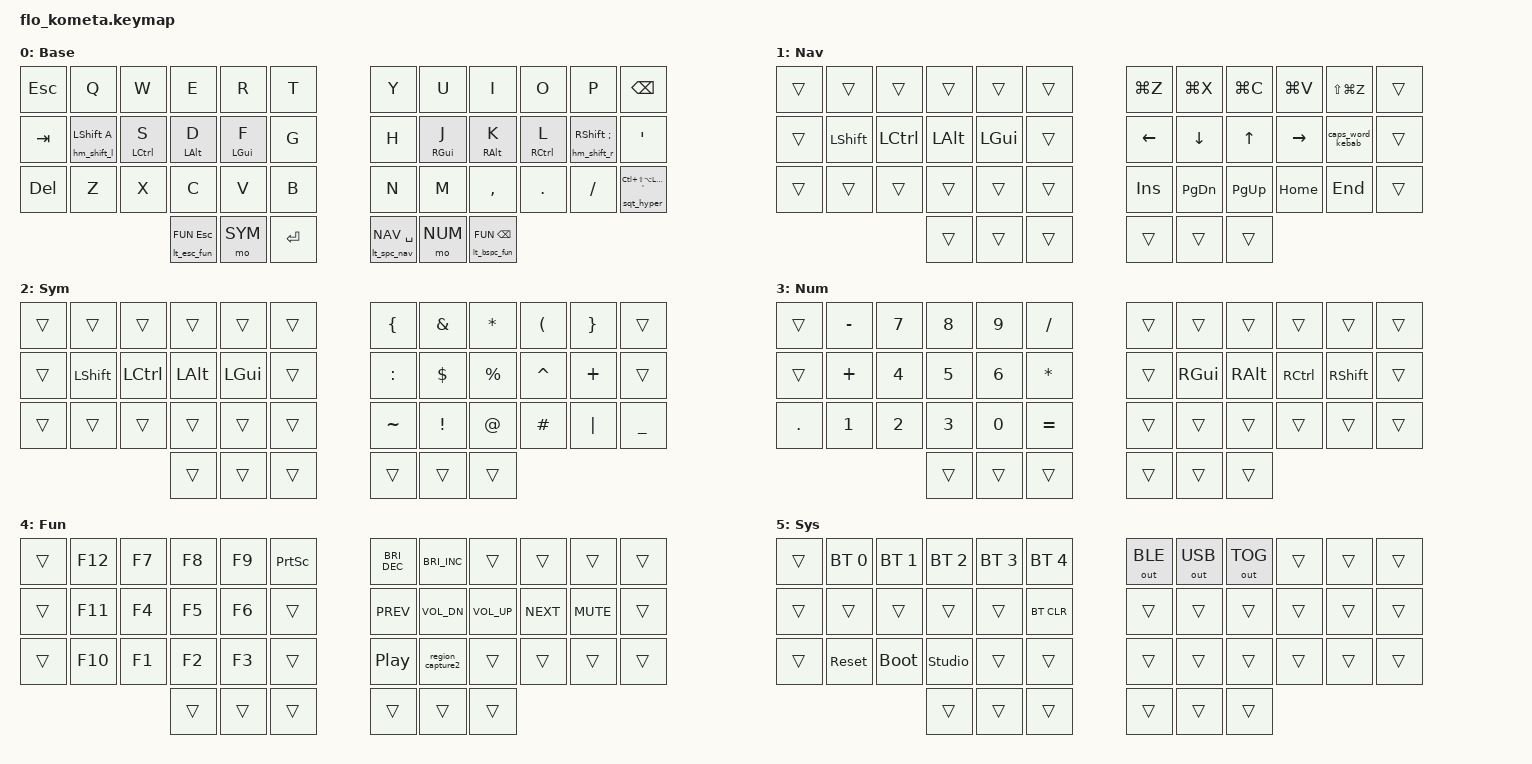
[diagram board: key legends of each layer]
/*
 * Variant A — "flo-core" (kometa, 42-key grid)
 *
 * Identical scheme to flo_totem.keymap; the kometa's extra outer column
 * keeps ESC / TAB / BSPC / SQT / DEL as bonus corner keys (they fall through
 * to base on every layer), mirroring the corne backup's muscle memory.
 * The totem-parity extras live at the same inner positions as the totem's
 * wings: TAB on the totem wing == TAB corner here, SQT/Hyper wing == RB5.
 */

#include <behaviors.dtsi>
#include <dt-bindings/zmk/keys.h>
#include <dt-bindings/zmk/bt.h>
#include <dt-bindings/zmk/outputs.h>

#include "zmk-helpers/helper.h"
#include "zmk-helpers/key-labels/42.h"

#define KEYS_L LT0 LT1 LT2 LT3 LT4 LT5 LM0 LM1 LM2 LM3 LM4 LM5 LB0 LB1 LB2 LB3 LB4 LB5
#define KEYS_R RT0 RT1 RT2 RT3 RT4 RT5 RM0 RM1 RM2 RM3 RM4 RM5 RB0 RB1 RB2 RB3 RB4 RB5
#define KEYS_T LH2 LH1 LH0 RH0 RH1 RH2

#include "../includes/behaviours_homerow_mods.dtsi"
#include "../includes/behaviours_variants.dtsi"

#define BASE 0
#define NAV  1
#define SYM  2
#define NUM  3
#define FUN  4
#define SYS  5

#include "../includes/combos_variants.dtsi"

/ {
    conditional_layers {
        compatible = "zmk,conditional-layers";
        tri_layer {
            if-layers = <NUM SYM>;
            then-layer = <SYS>;
        };
    };

    keymap {
        compatible = "zmk,keymap";

        // ┌────┬────┬────┬────┬────┬────┐        ┌────┬────┬────┬────┬────┬────┐
        // │ESC │ Q  │ W  │ E  │ R  │ T  │        │ Y  │ U  │ I  │ O  │ P  │BSPC│
        // ├────┼────┼────┼────┼────┼────┤        ├────┼────┼────┼────┼────┼────┤
        // │TAB │ A* │ S* │ D* │ F* │ G  │        │ H  │ J* │ K* │ L* │ ;* │ '  │
        // ├────┼────┼────┼────┼────┼────┤        ├────┼────┼────┼────┼────┼────┤
        // │DEL │ Z  │ X  │ C  │ V  │ B  │        │ N  │ M  │ ,  │ .  │ /  │'⌘  │
        // └────┴────┴────┴────┼────┼────┼────┐┌───┼────┼────┼────┼────┼────┴────┘
        //                    │ESC │SYM │ RET ││SPC │NUM │BSPC│
        //                    └────┴────┴─────┘└────┴────┴────┘
        // * hold for mods (Shift/Ctrl/Alt/Gui — mirrored both sides)

        base_layer {
            display-name = "Base";
            label = "BASE";

            bindings = <
                &kp ESC   &kp Q                &kp W &kp E &kp R &kp T              &kp Y &kp U      &kp I      &kp O     &kp P        &kp BSPC
                &kp TAB   &hm_shift_l LSHFT A &hm_l LCTRL S &hm_l LALT D &hm_l LGUI F &kp G    &kp H &hm_r RGUI J &hm_r RALT K &hm_r RCTRL L &hm_shift_r RSHFT SEMICOLON &kp SQT
                &kp DEL   &kp Z &kp X &kp C &kp V &kp B                         &kp N &kp M  &kp COMMA &kp DOT &kp SLASH &sqt_hyper LC(LS(LA(LGUI))) SQT
                                &lt_esc_fun FUN ESC  &mo SYM   &kp RET     &lt_spc_nav NAV SPACE   &mo NUM   &lt_bspc_fun FUN BSPC
            >;
        };

        nav_layer {
            display-name = "Nav";
            label = "NAV";

            // left home row = real mods; right = nav + clipboard
            bindings = <
                &trans  &trans  &trans  &trans  &trans  &trans                    &kp LG(Z)   &kp LG(X)   &kp LG(C)   &kp LG(V)          &kp LS(LG(Z))   &trans
                &trans  &kp LSHFT  &kp LCTRL  &kp LALT  &kp LGUI  &trans          &kp LEFT    &kp DOWN    &kp UP      &kp RIGHT           &caps_word_kebab &trans
                &trans  &trans  &trans  &trans  &trans  &trans                    &kp INS     &kp PG_DN   &kp PG_UP   &kp HOME            &kp END         &trans
                                &trans  &trans  &trans                          &trans      &trans      &trans
            >;
        };

        sym_layer {
            display-name = "Sym";
            label = "SYM";

            // symbols on the right (flo arrangement), real mods left home row
            bindings = <
                &trans  &trans  &trans  &trans  &trans  &trans                    &kp LBRC    &kp AMPS    &kp ASTRK   &kp LPAR    &kp RBRC    &trans
                &trans  &kp LSHFT  &kp LCTRL  &kp LALT  &kp LGUI  &trans          &kp COLON   &kp DLLR    &kp PRCNT   &kp CARET   &kp PLUS    &trans
                &trans  &trans  &trans  &trans  &trans  &trans                    &kp TILDE   &kp EXCL    &kp AT      &kp HASH    &kp PIPE    &kp UNDER
                                &trans  &trans  &trans                          &trans      &trans      &trans
            >;
        };

        num_layer {
            display-name = "Num";
            label = "NUM";

            // calculator-style numpad left, real mods right home row
            bindings = <
                &trans  &kp MINUS   &kp N7   &kp N8   &kp N9   &kp SLASH           &trans    &trans      &trans      &trans      &trans      &trans
                &trans  &kp PLUS    &kp N4   &kp N5   &kp N6   &kp ASTRK           &trans    &kp RGUI    &kp RALT    &kp RCTRL   &kp RSHFT   &trans
                &kp DOT     &kp N1   &kp N2   &kp N3   &kp N0   &kp EQUAL   &trans    &trans      &trans      &trans      &trans      &trans
                                &trans  &trans  &trans                          &trans    &trans      &trans
            >;
        };

        fun_layer {
            display-name = "Fun";
            label = "FUN";

            // F-keys left (numpad-mirrored), media right
            bindings = <
                &trans  &kp F12   &kp F7   &kp F8   &kp F9   &kp PSCRN            &kp C_BRI_DEC   &kp C_BRI_INC  &trans   &trans    &trans    &trans
                &trans  &kp F11   &kp F4   &kp F5   &kp F6   &trans               &kp C_PREV      &kp C_VOL_DN   &kp C_VOL_UP  &kp C_NEXT   &kp C_MUTE   &trans
                &trans  &kp F10  &kp F1   &kp F2   &kp F3   &trans              &kp C_PP        &region_capture2  &trans   &trans    &trans    &trans
                                &trans  &trans  &trans                          &trans    &trans      &trans
            >;
        };

        sys_layer {
            display-name = "Sys";
            label = "SYS";

            // hold NUM + SYM together: BT / outputs / reset / studio
            bindings = <
                &trans  &bt BT_SEL 0  &bt BT_SEL 1  &bt BT_SEL 2  &bt BT_SEL 3  &bt BT_SEL 4          &out OUT_BLE    &out OUT_USB    &out OUT_TOG    &trans  &trans  &trans
                &trans  &trans        &trans        &trans        &trans        &bt BT_CLR           &trans          &trans          &trans          &trans  &trans  &trans
                &trans  &sys_reset    &bootloader   &studio_unlock &trans &trans     &trans          &trans          &trans          &trans  &trans  &trans
                                &trans  &trans  &trans                          &trans          &trans          &trans
            >;
        };
    };
};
